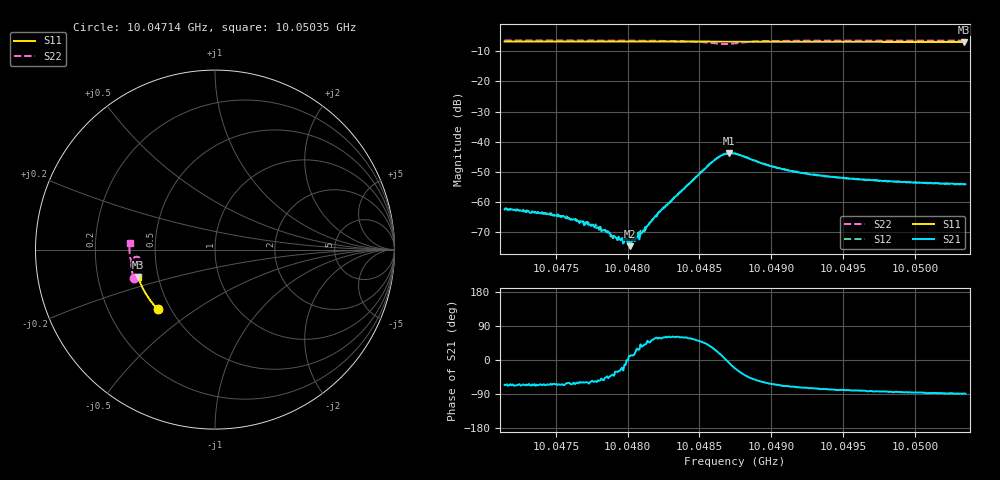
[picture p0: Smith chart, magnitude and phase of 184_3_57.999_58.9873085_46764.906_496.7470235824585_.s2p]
#  HZ  S  RI  R  50.00
! Rohde & Schwarz Vector Network Analyzer
! Rohde-Schwarz,ZNB20-2Port,1311601062101988,3.16
! Created: UTC 3/21/2024, 12:58:28 AM
! freq[Hz]  re:S11  im:S11  re:S21  im:S21  re:S12  im:S12  re:S22  im:S22
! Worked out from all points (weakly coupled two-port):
!   401 points, 10.04714 GHz to 10.05035 GHz, reference 50 ohm
!   highest |S21| = -43.80 dB at 10.04871 GHz (marker M1); lowest = -74.6 dB at 10.04802 GHz (marker M2)
!   lowest |S11| = -6.8 dB at 10.05034 GHz (marker M3), VSWR 2.67, Z = 19.2 - j7.38 ohm
!   |S11| at or under -10 dB: nowhere
!   |S22| runs from -7.6 to -6.4 dB; largest |S21 - S12| = 0.00045
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1.0047143e10  -0.3199 -0.3311  0.000313 -0.000686  0.000374 -0.000676  -0.4525 -0.1579
1.0047312e10  -0.3275 -0.3231  0.000314 -0.000625  0.000332 -0.000607  -0.4558 -0.1468
1.0047544e10  -0.3378 -0.3116  0.000256 -0.000526  0.000275 -0.000509  -0.4601 -0.1306
1.0047681e10  -0.3437 -0.3047  0.000244 -0.000406  0.000257 -0.000408  -0.4622 -0.1209
1.0047737e10  -0.3461 -0.3016  0.000218 -0.000363  0.000267 -0.000343  -0.4629 -0.1169
1.0047825e10  -0.3498 -0.2971  0.000207 -0.000269  0.000238 -0.000264  -0.4641 -0.1102
1.0047913e10  -0.3533 -0.2925  0.000224 -0.000132  0.000236 -0.000125  -0.4651 -0.1036
1.0047945e10  -0.3547 -0.2909  0.000211 -0.000116  0.000228 -7.63e-05  -0.4654 -0.101
1.0048018e10  -0.3574 -0.287  0.000182 3.44e-05  0.000241 4.29e-05  -0.466 -0.095
1.0048034e10  -0.3582 -0.2864  0.000232 4.94e-05  0.000247 4.24e-05  -0.4661 -0.0938
1.0048098e10  -0.3608 -0.2828  0.000246 0.000174  0.000253 0.000233  -0.4664 -0.0883
1.0048122e10  -0.3617 -0.2816  0.000289 0.000253  0.000227 0.000252  -0.4665 -0.0862
1.0048218e10  -0.3655 -0.2765  0.000352 0.000583  0.000311 0.000607  -0.4662 -0.077
1.0048587e10  -0.3788 -0.256  0.00381 0.0025  0.00369 0.00276  -0.4328 -0.0395
1.0048651e10  -0.3807 -0.2523  0.00575 0.00132  0.00571 0.00166  -0.4163 -0.0496
1.0048707e10  -0.3826 -0.2494  0.00639 -0.000927  0.00646 -0.000501  -0.4139 -0.0686
1.0048748e10  -0.3839 -0.2473  0.00586 -0.00237  0.00605 -0.00205  -0.4211 -0.0796
1.0049036e10  -0.3939 -0.231  0.00154 -0.00339  0.00177 -0.00331  -0.4658 -0.0641
1.0049285e10  -0.4017 -0.2166  0.000758 -0.00276  0.000954 -0.00274  -0.4735 -0.0406
1.0049823e10  -0.4167 -0.1844  0.000218 -0.00223  0.000398 -0.0022  -0.4766 0.000823
1.0050344e10  -0.4284 -0.1522  6.06e-05 -0.00196  0.000141 -0.00196  -0.4754 0.0372
1.0050352e10  -0.4287 -0.1517  3.71e-05 -0.00198  0.000113 -0.00197  -0.4753 0.0377
